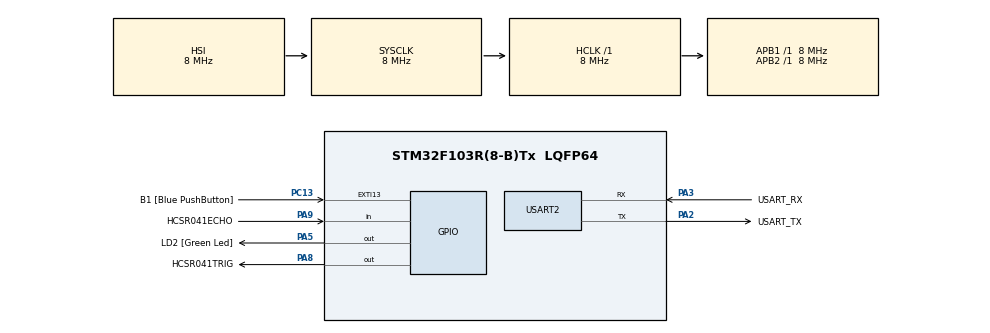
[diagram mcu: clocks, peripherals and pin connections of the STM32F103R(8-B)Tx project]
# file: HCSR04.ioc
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Mcu.Family=STM32F1
Mcu.Name=STM32F103R(8-B)Tx
Mcu.Package=LQFP64
NVIC.EXTI15_10_IRQn=true\:0\:0\:false\:false\:true\:true\:true\:true
NVIC.PriorityGroup=NVIC_PRIORITYGROUP_4
NVIC.TIM2_IRQn=true\:0\:0\:false\:false\:true\:true\:true\:true
PA13.GPIO_Label=TMS
PA13.Mode=Serial_Wire
PA13.Signal=SYS_JTMS-SWDIO
PA14.GPIO_Label=TCK
PA14.Mode=Serial_Wire
PA14.Signal=SYS_JTCK-SWCLK
PA15.Signal=S_TIM2_CH1_ETR
PA2.GPIO_Label=USART_TX
PA2.GPIO_Mode=GPIO_MODE_AF_PP
PA2.GPIO_PuPd=GPIO_NOPULL
PA2.GPIO_Speed=GPIO_SPEED_FREQ_LOW
PA2.Mode=Asynchronous
PA2.Signal=USART2_TX
PA3.GPIO_Label=USART_RX
PA3.GPIO_Mode=GPIO_MODE_AF_PP
PA3.GPIO_PuPd=GPIO_NOPULL
PA3.GPIO_Speed=GPIO_SPEED_FREQ_LOW
PA3.Mode=Asynchronous
PA3.Signal=USART2_RX
PA5.GPIO_Label=LD2 [Green Led]
PA5.GPIO_ModeDefaultOutputPP=GPIO_MODE_OUTPUT_PP
PA5.GPIO_PuPd=GPIO_NOPULL
PA5.GPIO_Speed=GPIO_SPEED_FREQ_LOW
PA5.Signal=GPIO_Output
PA8.GPIO_Label=HCSR041TRIG
PA8.Signal=GPIO_Output
PA9.GPIO_Label=HCSR041ECHO
PA9.Signal=GPIO_Input
PB3.GPIO_Label=SWO
PB3.Signal=SYS_JTDO-TRACESWO
PC13-TAMPER-RTC.GPIO_Label=B1 [Blue PushButton]
PC13-TAMPER-RTC.GPIO_PuPd=GPIO_NOPULL
PC13-TAMPER-RTC.Signal=GPXTI13
PC14-OSC32_IN.Mode=LSE-External-Clock-Source
PC14-OSC32_IN.Signal=RCC_OSC32_IN
PC15-OSC32_OUT.Mode=LSE-External-Clock-Source
PC15-OSC32_OUT.Signal=RCC_OSC32_OUT
PD0-OSC_IN.Mode=HSE-External-Clock-Source
PD0-OSC_IN.Signal=RCC_OSC_IN
PD1-OSC_OUT.Mode=HSE-External-Clock-Source
PD1-OSC_OUT.Signal=RCC_OSC_OUT
ProjectManager.HeapSize=0x200
ProjectManager.StackSize=0x400
ProjectManager.TargetToolchain=STM32CubeIDE
RCC.AHBFreq_Value=8000000
RCC.APB1Freq_Value=8000000
RCC.APB1TimFreq_Value=8000000
RCC.APB2Freq_Value=8000000
RCC.APB2TimFreq_Value=8000000
RCC.HCLKFreq_Value=8000000
RCC.PLLMUL=RCC_PLL_MUL9
RCC.PLLSourceVirtual=RCC_PLLSOURCE_HSE
RCC.RTCClockSelection=RCC_RTCCLKSOURCE_LSE
RCC.SYSCLKFreq_VALUE=8000000
RCC.USBFreq_Value=72000000
SH.S_TIM2_CH1_ETR.0=TIM2_CH1
TIM2.Period=1000-1
TIM2.Prescaler=8000-1
USART2.VirtualMode=VM_ASYNC
VP_TIM2_VS_ClockSourceINT.Mode=Internal
board=NUCLEO-F103RB

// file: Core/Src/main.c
/* USER CODE BEGIN Header */
/**
  ******************************************************************************
  * @file           : main.c
  * @brief          : Main program body
  ******************************************************************************
  * @attention
  *
  * Copyright (c) 2024 STMicroelectronics.
  * All rights reserved.
  *
  * This software is licensed under terms that can be found in the LICENSE file
  * in the root directory of this software component.
  * If no LICENSE file comes with this software, it is provided AS-IS.
  *
  ******************************************************************************
  */
/* USER CODE END Header */
#include "main.h"
#include "tim.h"
#include "usart.h"
#include "gpio.h"

/* USER CODE BEGIN Includes */
#include<stdio.h>
/* USER CODE END Includes */

void SystemClock_Config(void);
/* USER CODE BEGIN PFP */
#ifdef __GNUC__
#define PUTCHAR_PROTOTYPE int __io_putchar(int ch)
#else
#define PUTCHAR_PROTOTYPE int fputc(int ch, FILE *f)
#endif

PUTCHAR_PROTOTYPE
{
  HAL_UART_Transmit(&huart2, (uint8_t *)&ch, 1, HAL_MAX_DELAY);
  return ch;
}

/* USER CODE END PFP */

/* USER CODE BEGIN 0 */

#define SYS_CLOCK    8
#define SYSTICK_LOAD 7999
uint32_t millis_cnt=1U;
/*
uint32_t millis(){
  return millis_cnt;
}

uint32_t micros(){
  return (millis_cnt&0x3FFFFF)*1000 + (SYSTICK_LOAD-SysTick->VAL)/SYS_CLOCK;
}

void delay_us(uint32_t us){
  uint32_t temp = micros();
  uint32_t comp = temp + us;
  uint8_t  flag = 0;
  while(comp > temp){
    if(((millis_cnt&0x3FFFFF)==0)&&(flag==0)){
      flag = 1;
    }
    if(flag) temp = micros() + 0x400000UL * 1000;
    else     temp = micros();
  }
}
*/

uint32_t pulse_start;
uint32_t pulse_end;
uint32_t distance;

uint32_t cnt = 0;
void HAL_TIM_PeriodElapsedCallback(TIM_HandleTypeDef *htim) // 8000-1 1000-1�???? ?��?��
{
	//printf("now : %lu\r\n", cnt);
	cnt++;

}

/* USER CODE END 0 */

int main(void)
{

  /* MCU Configuration--------------------------------------------------------*/

  /* Reset of all peripherals, Initializes the Flash interface and the Systick. */
  HAL_Init();

  /* Configure the system clock */
  SystemClock_Config();

  /* Initialize all configured peripherals */
  MX_GPIO_Init();
  MX_USART2_UART_Init();
  MX_TIM2_Init();
  /* USER CODE BEGIN 2 */
  HAL_GPIO_WritePin(GPIOA, GPIO_PIN_8, RESET);

  HAL_TIM_Base_Start_IT(&htim2);
  /* USER CODE END 2 */

  /* Infinite loop */
  while (1)
  {

    /* USER CODE BEGIN 3 */

	  /*
	  HAL_GPIO_WritePin(GPIOA, GPIO_PIN_8, SET);
	  	      delay_us(50);
	  	      HAL_GPIO_WritePin(GPIOA, GPIO_PIN_8, RESET);
	  	      while(HAL_GPIO_ReadPin(GPIOA, GPIO_PIN_9)==GPIO_PIN_RESET);
	  	      uint32_t start = micros();
	  	      while(HAL_GPIO_ReadPin(GPIOA, GPIO_PIN_9)==GPIO_PIN_SET);
	  	      uint32_t distance = (micros()-start) / 58;
	  	      printf("Distance = %lu cm \r\n", distance);
	  	      HAL_Delay(2000);
	*/

	  HAL_GPIO_WritePin(GPIOA, GPIO_PIN_8, SET);
	  HAL_Delay(20);
	  HAL_GPIO_WritePin(GPIOA, GPIO_PIN_8, RESET);

	  HAL_Delay(10);

	  if(HAL_GPIO_ReadPin(GPIOA, GPIO_PIN_9)) {
		  printf("SET\r\n");
	  }
	  else {
		  printf("RESET\r\n");
	  }
	  HAL_Delay(100);
  }
  /* USER CODE END 3 */
}

void SystemClock_Config(void)
{
  RCC_OscInitTypeDef RCC_OscInitStruct = {0};
  RCC_ClkInitTypeDef RCC_ClkInitStruct = {0};

  /** Initializes the RCC Oscillators according to the specified parameters
  * in the RCC_OscInitTypeDef structure.
  */
  RCC_OscInitStruct.OscillatorType = RCC_OSCILLATORTYPE_HSI;
  RCC_OscInitStruct.HSIState = RCC_HSI_ON;
  RCC_OscInitStruct.HSICalibrationValue = RCC_HSICALIBRATION_DEFAULT;
  RCC_OscInitStruct.PLL.PLLState = RCC_PLL_NONE;
  if (HAL_RCC_OscConfig(&RCC_OscInitStruct) != HAL_OK)
  {
    Error_Handler();
  }

  /** Initializes the CPU, AHB and APB buses clocks
  */
  RCC_ClkInitStruct.ClockType = RCC_CLOCKTYPE_HCLK|RCC_CLOCKTYPE_SYSCLK
                              |RCC_CLOCKTYPE_PCLK1|RCC_CLOCKTYPE_PCLK2;
  RCC_ClkInitStruct.SYSCLKSource = RCC_SYSCLKSOURCE_HSI;
  RCC_ClkInitStruct.AHBCLKDivider = RCC_SYSCLK_DIV1;
  RCC_ClkInitStruct.APB1CLKDivider = RCC_HCLK_DIV1;
  RCC_ClkInitStruct.APB2CLKDivider = RCC_HCLK_DIV1;

  if (HAL_RCC_ClockConfig(&RCC_ClkInitStruct, FLASH_LATENCY_0) != HAL_OK)
  {
    Error_Handler();
  }
}

void Error_Handler(void)
{
  __disable_irq();
  while (1)
  {
  }
}
